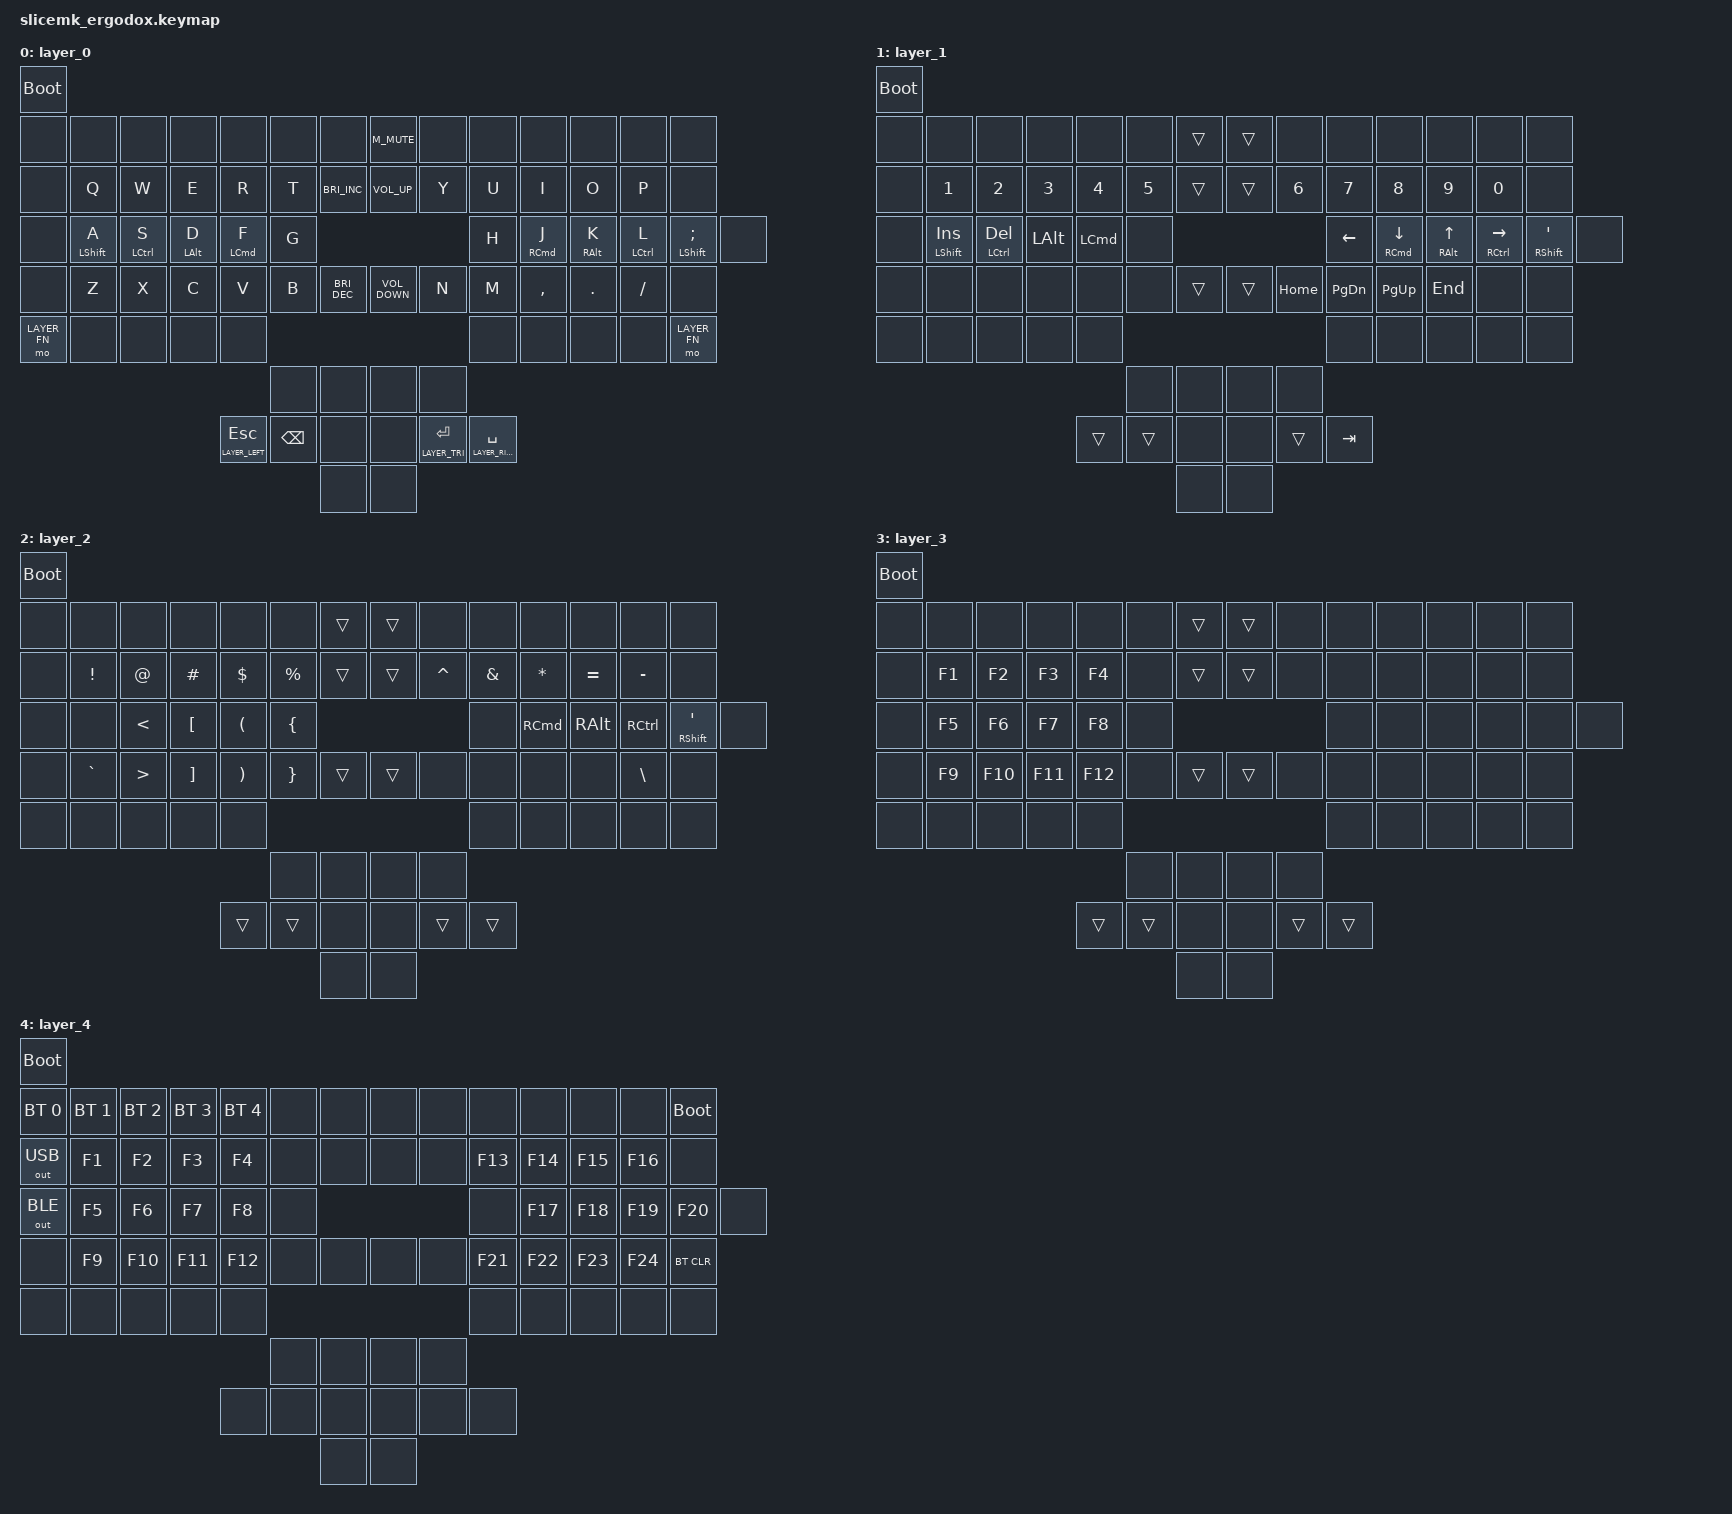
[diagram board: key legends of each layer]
#include <behaviors.dtsi>
#include <dt-bindings/zmk/bt.h>
#include <dt-bindings/zmk/keys.h>
#include <dt-bindings/zmk/outputs.h>
#include <dt-bindings/zmk/rgb.h>

#define LAYER_MAIN 0
#define LAYER_LEFT 1
#define LAYER_RIGHT 2
#define LAYER_TRI 3
#define LAYER_FN 4



/ {
    behaviors {
        bhm: balanced_homerow_mods {
            compatible = "zmk,behavior-hold-tap";
            label = "HOMEROW_MODS";
            #binding-cells = <2>;
            tapping-term-ms = <200>;    // <---[[moderate duration]]
            quick-tap-ms = <0>;
            flavor = "balanced";
            bindings = <&kp>, <&kp>;
        };
    };

	keymap {
		compatible = "zmk,keymap";
		layer_0 {
			bindings = <
				&bootloader
				&none        &none        &none       &none      &none              &none         &none                &kp M_MUTE        &none               &none                 &none      &none       &none                &none
				&none        &kp Q        &kp W       &kp E      &kp R              &kp T         &kp C_BRIGHTNESS_INC &kp C_VOLUME_UP   &kp Y               &kp U                 &kp I      &kp O       &kp P                &none
				&none        &bhm LSHIFT A &bhm LCTRL S &bhm LALT D &bhm LCMD F         &kp G                                                &kp H               &bhm RCMD J            &bhm RALT K &bhm LCTRL L &bhm LSHIFT SEMICOLON &none
				&none        &kp Z        &kp X       &kp C      &kp V              &kp B         &kp C_BRIGHTNESS_DEC &kp C_VOLUME_DOWN &kp N               &kp M                 &kp CMMA   &kp DOT     &kp FSLH             &none
				&mo LAYER_FN &none        &none       &none      &none                                                                                       &none                 &none      &none       &none                &mo LAYER_FN
				                                                                    &none         &none                &none             &none
				                                                 &lt LAYER_LEFT ESC &kp BACKSPACE &none                &none             &lt LAYER_TRI ENTER &lt LAYER_RIGHT SPACE
				                                                                                  &none                &none
			>;
		};
		layer_1 {
			bindings = <
				&bootloader
				&none &none          &none         &none        &none        &none        &trans &trans &none        &none         &none        &none           &none                 &none
				&none &kp NUMBER_1   &kp NUMBER_2  &kp NUMBER_3 &kp NUMBER_4 &kp NUMBER_5 &trans &trans &kp NUMBER_6 &kp NUMBER_7  &kp NUMBER_8 &kp NUMBER_9    &kp NUMBER_0          &none
				&none &mt LSHIFT INS &mt LCTRL DEL &kp LALT     &kp LCMD     &none                      &kp LEFT     &mt RCMD DOWN &mt RALT UP  &mt RCTRL RIGHT &mt RSHIFT APOSTROPHE &none
				&none &none          &none         &none        &none        &none        &trans &trans &kp HOME     &kp PAGE_DOWN &kp PAGE_UP  &kp END         &none                 &none
				&none &none          &none         &none        &none                                                &none         &none        &none           &none                 &none
				                                                             &none        &none  &none  &none
				                                                &trans       &trans       &none  &none  &trans       &kp TAB
				                                                                          &none  &none
			>;
		};
		layer_2 {
			bindings = <
				&bootloader
				&none &none           &none            &none             &none                 &none           &trans &trans &none     &none         &none        &none     &none                 &none
				&none &kp EXCLAMATION &kp AT_SIGN      &kp HASH          &kp DOLLAR            &kp PERCENT     &trans &trans &kp CARET &kp AMPERSAND &kp ASTERISK &kp EQUAL &kp MINUS             &none
				&none &none           &kp LESS_THAN    &kp LEFT_BRACKET  &kp LEFT_PARENTHESIS  &kp LEFT_BRACE                &none     &kp RCMD      &kp RALT     &kp RCTRL &mt RSHIFT APOSTROPHE &none
				&none &kp GRAVE       &kp GREATER_THAN &kp RIGHT_BRACKET &kp RIGHT_PARENTHESIS &kp RIGHT_BRACE &trans &trans &none     &none         &none        &none     &kp BACKSLASH         &none
				&none &none           &none            &none             &none                                                         &none         &none        &none     &none                 &none
				                                                                               &none           &none  &none  &none
				                                                         &trans                &trans          &none  &none  &trans    &trans
				                                                                                               &none  &none
			>;
		};
		layer_3 {
			bindings = <
				&bootloader
				&none &none  &none   &none   &none   &none  &trans &trans &none  &none  &none &none &none &none
				&none &kp F1 &kp F2  &kp F3  &kp F4  &none  &trans &trans &none  &none  &none &none &none &none
				&none &kp F5 &kp F6  &kp F7  &kp F8  &none                &none  &none  &none &none &none &none
				&none &kp F9 &kp F10 &kp F11 &kp F12 &none  &trans &trans &none  &none  &none &none &none &none
				&none &none  &none   &none   &none                               &none  &none &none &none &none
				                                     &none  &none  &none  &none
				                             &trans  &trans &none  &none  &trans &trans
				                                            &none  &none
			>;
		};
		layer_4 {
			bindings = <
				&bootloader
				&bt BT_SEL 0 &bt BT_SEL 1 &bt BT_SEL 2 &bt BT_SEL 3 &bt BT_SEL 4 &none &none &none &none &none   &none   &none   &none   &bootloader
				&out OUT_USB &kp F1       &kp F2       &kp F3       &kp F4       &none &none &none &none &kp F13 &kp F14 &kp F15 &kp F16 &none
				&out OUT_BLE &kp F5       &kp F6       &kp F7       &kp F8       &none             &none &kp F17 &kp F18 &kp F19 &kp F20 &none
				&none        &kp F9       &kp F10      &kp F11      &kp F12      &none &none &none &none &kp F21 &kp F22 &kp F23 &kp F24 &bt BT_CLR
				&none        &none        &none        &none        &none                                &none   &none   &none   &none   &none
				                                                                 &none &none &none &none
				                                                    &none        &none &none &none &none &none
				                                                                       &none &none
			>;
		};
	};

};
